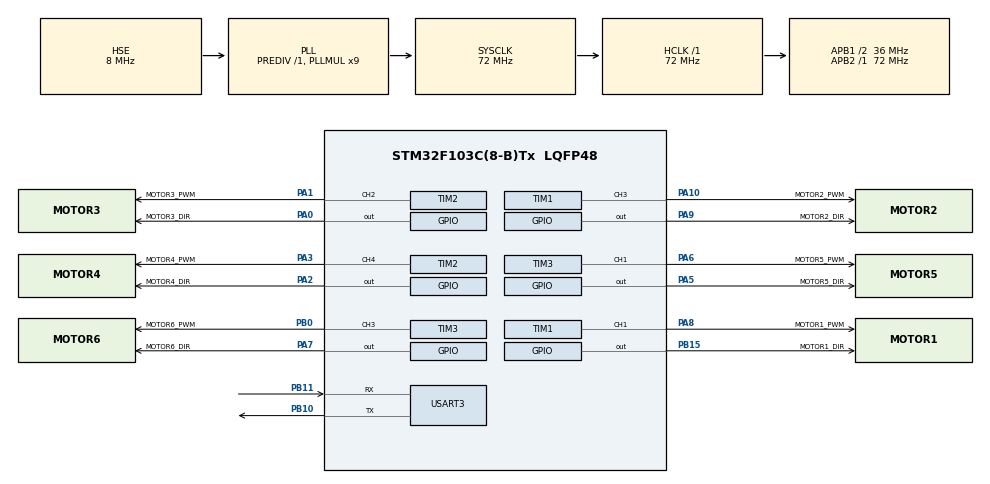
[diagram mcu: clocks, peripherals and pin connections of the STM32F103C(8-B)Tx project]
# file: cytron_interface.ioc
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Mcu.Family=STM32F1
Mcu.Name=STM32F103C(8-B)Tx
Mcu.Package=LQFP48
NVIC.PriorityGroup=NVIC_PRIORITYGROUP_4
NVIC.USART3_IRQn=true\:0\:0\:false\:false\:true\:true\:true\:true
PA0-WKUP.GPIO_Label=MOTOR3_DIR
PA0-WKUP.Signal=GPIO_Output
PA1.GPIO_Label=MOTOR3_PWM
PA1.Signal=S_TIM2_CH2
PA10.GPIO_Label=MOTOR2_PWM
PA10.Signal=S_TIM1_CH3
PA13.Mode=Serial_Wire
PA13.Signal=SYS_JTMS-SWDIO
PA14.Mode=Serial_Wire
PA14.Signal=SYS_JTCK-SWCLK
PA2.GPIO_Label=MOTOR4_DIR
PA2.Signal=GPIO_Output
PA3.GPIO_Label=MOTOR4_PWM
PA3.Signal=S_TIM2_CH4
PA5.GPIO_Label=MOTOR5_DIR
PA5.Signal=GPIO_Output
PA6.GPIO_Label=MOTOR5_PWM
PA6.Signal=S_TIM3_CH1
PA7.GPIO_Label=MOTOR6_DIR
PA7.Signal=GPIO_Output
PA8.GPIO_Label=MOTOR1_PWM
PA8.Signal=S_TIM1_CH1
PA9.GPIO_Label=MOTOR2_DIR
PA9.Signal=GPIO_Output
PB0.GPIO_Label=MOTOR6_PWM
PB0.Signal=S_TIM3_CH3
PB10.Mode=Asynchronous
PB10.Signal=USART3_TX
PB11.Mode=Asynchronous
PB11.Signal=USART3_RX
PB15.GPIO_Label=MOTOR1_DIR
PB15.Signal=GPIO_Output
PD0-OSC_IN.Mode=HSE-External-Oscillator
PD0-OSC_IN.Signal=RCC_OSC_IN
PD1-OSC_OUT.Mode=HSE-External-Oscillator
PD1-OSC_OUT.Signal=RCC_OSC_OUT
ProjectManager.HeapSize=0x200
ProjectManager.StackSize=0x400
ProjectManager.TargetToolchain=STM32CubeIDE
RCC.AHBFreq_Value=72000000
RCC.APB1CLKDivider=RCC_HCLK_DIV2
RCC.APB1Freq_Value=36000000
RCC.APB1TimFreq_Value=72000000
RCC.APB2Freq_Value=72000000
RCC.APB2TimFreq_Value=72000000
RCC.HCLKFreq_Value=72000000
RCC.PLLMUL=RCC_PLL_MUL9
RCC.PLLSourceVirtual=RCC_PLLSOURCE_HSE
RCC.SYSCLKFreq_VALUE=72000000
RCC.SYSCLKSource=RCC_SYSCLKSOURCE_PLLCLK
RCC.USBFreq_Value=72000000
SH.S_TIM1_CH1.0=TIM1_CH1,PWM Generation1 CH1
SH.S_TIM1_CH3.0=TIM1_CH3,PWM Generation3 CH3
SH.S_TIM2_CH2.0=TIM2_CH2,PWM Generation2 CH2
SH.S_TIM2_CH4.0=TIM2_CH4,PWM Generation4 CH4
SH.S_TIM3_CH1.0=TIM3_CH1,PWM Generation1 CH1
SH.S_TIM3_CH3.0=TIM3_CH3,PWM Generation3 CH3
TIM1.Channel-PWM\ Generation1\ CH1=TIM_CHANNEL_1
TIM1.Channel-PWM\ Generation3\ CH3=TIM_CHANNEL_3
TIM1.Period=999
TIM1.Prescaler=71
TIM2.Channel-PWM\ Generation2\ CH2=TIM_CHANNEL_2
TIM2.Channel-PWM\ Generation4\ CH4=TIM_CHANNEL_4
TIM2.Period=999
TIM2.Prescaler=71
TIM3.Channel-PWM\ Generation1\ CH1=TIM_CHANNEL_1
TIM3.Channel-PWM\ Generation3\ CH3=TIM_CHANNEL_3
TIM3.Period=999
TIM3.Prescaler=71
USART3.VirtualMode=VM_ASYNC
board=custom

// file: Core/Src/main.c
/* USER CODE BEGIN Header */
/**
  ******************************************************************************
  * @file           : main.c
  * @brief          : Main program body
  ******************************************************************************
  * @attention
  *
  * Copyright (c) 2025 STMicroelectronics.
  * All rights reserved.
  *
  * This software is licensed under terms that can be found in the LICENSE file
  * in the root directory of this software component.
  * If no LICENSE file comes with this software, it is provided AS-IS.
  *
  ******************************************************************************
  */
/* USER CODE END Header */
#include "main.h"

/* USER CODE BEGIN Includes */
// Array to hold the current, dynamically changing motor speeds

/* USER CODE END Includes */

/* USER CODE BEGIN PD */
#define NUM_MOTORS 6
#define UART_BUFFER_SIZE NUM_MOTORS
// The step size for acceleration/deceleration
#define RAMP_STEP 5
// Time interval for updating speed (in milliseconds)
#define RAMP_INTERVAL_MS 2
// Variable to store the last time the ramp was updated
/* USER CODE END PD */

TIM_HandleTypeDef htim1;
TIM_HandleTypeDef htim2;
TIM_HandleTypeDef htim3;

UART_HandleTypeDef huart3;

/* USER CODE BEGIN PV */
// Array to hold the raw speed values received from UART
uint8_t uart_rx_buffer[UART_BUFFER_SIZE];
// Array to hold the parsed motor speeds
volatile uint8_t motor_speeds[NUM_MOTORS] = {64,64,64,64,64,64};
volatile uint8_t data_ready_flag = 0;
uint32_t last_ramp_time = 0;
volatile int16_t current_motor_speeds[NUM_MOTORS];
/* USER CODE END PV */

void SystemClock_Config(void);
static void MX_GPIO_Init(void);
static void MX_TIM1_Init(void);
static void MX_TIM2_Init(void);
static void MX_TIM3_Init(void);
static void MX_USART3_UART_Init(void);
/* USER CODE BEGIN PFP */
void HAL_UART_RxCpltCallback(UART_HandleTypeDef *huart);
void set_motor_speed(uint8_t motor_index, uint8_t speed_value);
/* USER CODE END PFP */

/* USER CODE BEGIN 0 */
/**
  * @brief  This function is executed when the UART reception is complete.
  * @param  huart: UART handle
  * @retval None
  */
void HAL_UART_RxCpltCallback(UART_HandleTypeDef *huart)
{
    if (huart->Instance == USART3)
    {
        // Copy received data to the motor_speeds array
        for (int i = 0; i < NUM_MOTORS; i++)
        {
            motor_speeds[i] = uart_rx_buffer[i];
        }
        // Set a flag to indicate that new data is ready to be processed
        data_ready_flag = 1;

        // Re-arm the UART interrupt to receive the next packet of data
        HAL_UART_Receive_IT(&huart3, uart_rx_buffer, UART_BUFFER_SIZE);
    }
}

/**
  * @brief  Parses the speed value and sets the motor direction and PWM duty cycle.
  * @param  motor_index: The index of the motor to control (0-5).
  * @param  speed_value: The raw speed value from UART (0-127).
  * @retval None
  */
void set_motor_speed(uint8_t motor_index, uint8_t speed_value)
{
    GPIO_TypeDef* dir_port;
    uint16_t dir_pin;
    TIM_HandleTypeDef* pwm_timer;
    uint32_t pwm_channel;
    uint16_t pwm_value = 0;

    // --- Motor Pin and Timer Configuration ---
    switch (motor_index)
    {
        case 0: // Motor 1
            dir_port = MOTOR1_DIR_GPIO_Port;
            dir_pin = MOTOR1_DIR_Pin;
            pwm_timer = &htim1;
            pwm_channel = TIM_CHANNEL_1;
            break;
        case 1: // Motor 2
            dir_port = MOTOR2_DIR_GPIO_Port;
            dir_pin = MOTOR2_DIR_Pin;
            pwm_timer = &htim1;
            pwm_channel = TIM_CHANNEL_3;
            break;
        case 2: // Motor 3
            dir_port = MOTOR3_DIR_GPIO_Port;
            dir_pin = MOTOR3_DIR_Pin;
            pwm_timer = &htim2;
            pwm_channel = TIM_CHANNEL_2;
            break;
        case 3: // Motor 4
            dir_port = MOTOR4_DIR_GPIO_Port;
            dir_pin = MOTOR4_DIR_Pin;
            pwm_timer = &htim2;
            pwm_channel = TIM_CHANNEL_4;
            break;
        case 4: // Motor 5
            dir_port = MOTOR5_DIR_GPIO_Port;
            dir_pin = MOTOR5_DIR_Pin;
            pwm_timer = &htim3;
            pwm_channel = TIM_CHANNEL_1;
            break;
        case 5: // Motor 6
            dir_port = MOTOR6_DIR_GPIO_Port;
            dir_pin = MOTOR6_DIR_Pin;
            pwm_timer = &htim3;
            pwm_channel = TIM_CHANNEL_3;
            break;
        default:
            return; // Invalid motor index
    }

    // --- Speed and Direction Parsing Logic ---
    if (speed_value == 64) // Motor Stop
    {
        HAL_GPIO_WritePin(dir_port, dir_pin, GPIO_PIN_RESET); // Direction doesn't matter
        pwm_value = 0;
    }
    else if (speed_value > 64) // Forward
    {
    	if(dir_pin == MOTOR3_DIR_Pin || dir_pin == MOTOR6_DIR_Pin){
    		HAL_GPIO_WritePin(dir_port, dir_pin, GPIO_PIN_SET); // Set direction to Forward

    	}else{
            HAL_GPIO_WritePin(dir_port, dir_pin, GPIO_PIN_RESET); // Set direction to Forward
    	}
            // Map 65-127 to a PWM value (e.g., 0-999 for ARR=999)
            // (speed_value - 65) maps 65->0, 127->62
            // We scale this to the timer's ARR value (999)
            pwm_value = (uint16_t)(((speed_value - 65) / 62.0f) * 999);
    }
    else // Backward (speed_value < 64)
    {
    	if(dir_pin == MOTOR3_DIR_Pin || dir_pin == MOTOR6_DIR_Pin){
			HAL_GPIO_WritePin(dir_port, dir_pin, GPIO_PIN_RESET); // Set direction to Forward

		}else{
			HAL_GPIO_WritePin(dir_port, dir_pin, GPIO_PIN_SET); // Set direction to Forward
		}
        // Map 0-63 to a PWM value. 63 is slowest, 0 is fastest.
        // (63 - speed_value) maps 63->0, 0->63
        pwm_value = (uint16_t)(((63 - speed_value) / 63.0f) * 999);
    }

    // --- Set the PWM Duty Cycle ---
    __HAL_TIM_SET_COMPARE(pwm_timer, pwm_channel, pwm_value);
}

/* USER CODE BEGIN 0 */
/**
  * @brief  Sets the motor direction and PWM duty cycle based on a new PWM value.
  * @param  motor_index: The index of the motor to control (0-5).
  * @param  pwm_value: The calculated PWM value to set.
  * @param  speed_value: The raw speed value from UART (for direction logic).
  * @retval None
  */
void set_motor_speed_trapezoid(uint8_t motor_index, int16_t pwm_value, uint8_t speed_value)
{
    GPIO_TypeDef* dir_port;
    uint16_t dir_pin;
    TIM_HandleTypeDef* pwm_timer;
    uint32_t pwm_channel;

    // --- Motor Pin and Timer Configuration ---
    switch (motor_index)
    {
        case 0: // Motor 1
            dir_port = MOTOR1_DIR_GPIO_Port;
            dir_pin = MOTOR1_DIR_Pin;
            pwm_timer = &htim1;
            pwm_channel = TIM_CHANNEL_1;
            break;
        case 1: // Motor 2
            dir_port = MOTOR2_DIR_GPIO_Port;
            dir_pin = MOTOR2_DIR_Pin;
            pwm_timer = &htim1;
            pwm_channel = TIM_CHANNEL_3;
            break;
        case 2: // Motor 3
            dir_port = MOTOR3_DIR_GPIO_Port;
            dir_pin = MOTOR3_DIR_Pin;
            pwm_timer = &htim2;
            pwm_channel = TIM_CHANNEL_2;
            break;
        case 3: // Motor 4
            dir_port = MOTOR4_DIR_GPIO_Port;
            dir_pin = MOTOR4_DIR_Pin;
            pwm_timer = &htim2;
            pwm_channel = TIM_CHANNEL_4;
            break;
        case 4: // Motor 5
            dir_port = MOTOR5_DIR_GPIO_Port;
            dir_pin = MOTOR5_DIR_Pin;
            pwm_timer = &htim3;
            pwm_channel = TIM_CHANNEL_1;
            break;
        case 5: // Motor 6
            dir_port = MOTOR6_DIR_GPIO_Port;
            dir_pin = MOTOR6_DIR_Pin;
            pwm_timer = &htim3;
            pwm_channel = TIM_CHANNEL_3;
            break;
        default:
            return; // Invalid motor index
    }

    // --- Direction Parsing Logic ---
    // The direction only needs to be set once the motor starts moving,
    // or if the target direction changes.
    if (speed_value > 64) // Forward
    {
        if(dir_pin == MOTOR3_DIR_Pin || dir_pin == MOTOR6_DIR_Pin){
            HAL_GPIO_WritePin(dir_port, dir_pin, GPIO_PIN_SET);
        } else {
            HAL_GPIO_WritePin(dir_port, dir_pin, GPIO_PIN_RESET);
        }
    }
    else if (speed_value < 64) // Backward
    {
        if(dir_pin == MOTOR3_DIR_Pin || dir_pin == MOTOR6_DIR_Pin){
            HAL_GPIO_WritePin(dir_port, dir_pin, GPIO_PIN_RESET);
        } else {
            HAL_GPIO_WritePin(dir_port, dir_pin, GPIO_PIN_SET);
        }
    }
    // If speed_value == 64, direction is irrelevant.

    // --- Set the PWM Duty Cycle ---
    __HAL_TIM_SET_COMPARE(pwm_timer, pwm_channel, pwm_value);
}
/* USER CODE END 0 */

int main(void)
{

  /* MCU Configuration--------------------------------------------------------*/

  /* Reset of all peripherals, Initializes the Flash interface and the Systick. */
  HAL_Init();

  /* Configure the system clock */
  SystemClock_Config();

  /* Initialize all configured peripherals */
  MX_GPIO_Init();
  MX_TIM1_Init();
  MX_TIM2_Init();
  MX_TIM3_Init();
  MX_USART3_UART_Init();
  /* USER CODE BEGIN 2 */
  	HAL_TIM_PWM_Start(&htim1, TIM_CHANNEL_1);
    HAL_TIM_PWM_Start(&htim1, TIM_CHANNEL_3);
    HAL_TIM_PWM_Start(&htim2, TIM_CHANNEL_2);
    HAL_TIM_PWM_Start(&htim2, TIM_CHANNEL_4);
    HAL_TIM_PWM_Start(&htim3, TIM_CHANNEL_1);
    HAL_TIM_PWM_Start(&htim3, TIM_CHANNEL_3);

    // Initialize all motors to stop
      for (int i = 0; i < NUM_MOTORS; i++)
      {
          set_motor_speed(i, 64);
      }

      // Start listening for UART data
      HAL_UART_Receive_IT(&huart3, uart_rx_buffer, UART_BUFFER_SIZE);
  /* USER CODE END 2 */

  /* Infinite loop */
  while (1)
  {

  }
}

void SystemClock_Config(void)
{
  RCC_OscInitTypeDef RCC_OscInitStruct = {0};
  RCC_ClkInitTypeDef RCC_ClkInitStruct = {0};

  /** Initializes the RCC Oscillators according to the specified parameters
  * in the RCC_OscInitTypeDef structure.
  */
  RCC_OscInitStruct.OscillatorType = RCC_OSCILLATORTYPE_HSE;
  RCC_OscInitStruct.HSEState = RCC_HSE_ON;
  RCC_OscInitStruct.HSEPredivValue = RCC_HSE_PREDIV_DIV1;
  RCC_OscInitStruct.HSIState = RCC_HSI_ON;
  RCC_OscInitStruct.PLL.PLLState = RCC_PLL_ON;
  RCC_OscInitStruct.PLL.PLLSource = RCC_PLLSOURCE_HSE;
  RCC_OscInitStruct.PLL.PLLMUL = RCC_PLL_MUL9;
  if (HAL_RCC_OscConfig(&RCC_OscInitStruct) != HAL_OK)
  {
    Error_Handler();
  }

  /** Initializes the CPU, AHB and APB buses clocks
  */
  RCC_ClkInitStruct.ClockType = RCC_CLOCKTYPE_HCLK|RCC_CLOCKTYPE_SYSCLK
                              |RCC_CLOCKTYPE_PCLK1|RCC_CLOCKTYPE_PCLK2;
  RCC_ClkInitStruct.SYSCLKSource = RCC_SYSCLKSOURCE_PLLCLK;
  RCC_ClkInitStruct.AHBCLKDivider = RCC_SYSCLK_DIV1;
  RCC_ClkInitStruct.APB1CLKDivider = RCC_HCLK_DIV2;
  RCC_ClkInitStruct.APB2CLKDivider = RCC_HCLK_DIV1;

  if (HAL_RCC_ClockConfig(&RCC_ClkInitStruct, FLASH_LATENCY_2) != HAL_OK)
  {
    Error_Handler();
  }
}

static void MX_TIM1_Init(void)
{

  TIM_MasterConfigTypeDef sMasterConfig = {0};
  TIM_OC_InitTypeDef sConfigOC = {0};
  TIM_BreakDeadTimeConfigTypeDef sBreakDeadTimeConfig = {0};

  htim1.Instance = TIM1;
  htim1.Init.Prescaler = 71;
  htim1.Init.CounterMode = TIM_COUNTERMODE_UP;
  htim1.Init.Period = 999;
  htim1.Init.ClockDivision = TIM_CLOCKDIVISION_DIV1;
  htim1.Init.RepetitionCounter = 0;
  htim1.Init.AutoReloadPreload = TIM_AUTORELOAD_PRELOAD_DISABLE;
  if (HAL_TIM_PWM_Init(&htim1) != HAL_OK)
  {
    Error_Handler();
  }
  sMasterConfig.MasterOutputTrigger = TIM_TRGO_RESET;
  sMasterConfig.MasterSlaveMode = TIM_MASTERSLAVEMODE_DISABLE;
  if (HAL_TIMEx_MasterConfigSynchronization(&htim1, &sMasterConfig) != HAL_OK)
  {
    Error_Handler();
  }
  sConfigOC.OCMode = TIM_OCMODE_PWM1;
  sConfigOC.Pulse = 0;
  sConfigOC.OCPolarity = TIM_OCPOLARITY_HIGH;
  sConfigOC.OCNPolarity = TIM_OCNPOLARITY_HIGH;
  sConfigOC.OCFastMode = TIM_OCFAST_DISABLE;
  sConfigOC.OCIdleState = TIM_OCIDLESTATE_RESET;
  sConfigOC.OCNIdleState = TIM_OCNIDLESTATE_RESET;
  if (HAL_TIM_PWM_ConfigChannel(&htim1, &sConfigOC, TIM_CHANNEL_1) != HAL_OK)
  {
    Error_Handler();
  }
  if (HAL_TIM_PWM_ConfigChannel(&htim1, &sConfigOC, TIM_CHANNEL_3) != HAL_OK)
  {
    Error_Handler();
  }
  sBreakDeadTimeConfig.OffStateRunMode = TIM_OSSR_DISABLE;
  sBreakDeadTimeConfig.OffStateIDLEMode = TIM_OSSI_DISABLE;
  sBreakDeadTimeConfig.LockLevel = TIM_LOCKLEVEL_OFF;
  sBreakDeadTimeConfig.DeadTime = 0;
  sBreakDeadTimeConfig.BreakState = TIM_BREAK_DISABLE;
  sBreakDeadTimeConfig.BreakPolarity = TIM_BREAKPOLARITY_HIGH;
  sBreakDeadTimeConfig.AutomaticOutput = TIM_AUTOMATICOUTPUT_DISABLE;
  if (HAL_TIMEx_ConfigBreakDeadTime(&htim1, &sBreakDeadTimeConfig) != HAL_OK)
  {
    Error_Handler();
  }
  HAL_TIM_MspPostInit(&htim1);

}

static void MX_TIM2_Init(void)
{

  TIM_MasterConfigTypeDef sMasterConfig = {0};
  TIM_OC_InitTypeDef sConfigOC = {0};

  htim2.Instance = TIM2;
  htim2.Init.Prescaler = 71;
  htim2.Init.CounterMode = TIM_COUNTERMODE_UP;
  htim2.Init.Period = 999;
  htim2.Init.ClockDivision = TIM_CLOCKDIVISION_DIV1;
  htim2.Init.AutoReloadPreload = TIM_AUTORELOAD_PRELOAD_DISABLE;
  if (HAL_TIM_PWM_Init(&htim2) != HAL_OK)
  {
    Error_Handler();
  }
  sMasterConfig.MasterOutputTrigger = TIM_TRGO_RESET;
  sMasterConfig.MasterSlaveMode = TIM_MASTERSLAVEMODE_DISABLE;
  if (HAL_TIMEx_MasterConfigSynchronization(&htim2, &sMasterConfig) != HAL_OK)
  {
    Error_Handler();
  }
  sConfigOC.OCMode = TIM_OCMODE_PWM1;
  sConfigOC.Pulse = 0;
  sConfigOC.OCPolarity = TIM_OCPOLARITY_HIGH;
  sConfigOC.OCFastMode = TIM_OCFAST_DISABLE;
  if (HAL_TIM_PWM_ConfigChannel(&htim2, &sConfigOC, TIM_CHANNEL_2) != HAL_OK)
  {
    Error_Handler();
  }
  if (HAL_TIM_PWM_ConfigChannel(&htim2, &sConfigOC, TIM_CHANNEL_4) != HAL_OK)
  {
    Error_Handler();
  }
  HAL_TIM_MspPostInit(&htim2);

}

static void MX_TIM3_Init(void)
{

  TIM_MasterConfigTypeDef sMasterConfig = {0};
  TIM_OC_InitTypeDef sConfigOC = {0};

  htim3.Instance = TIM3;
  htim3.Init.Prescaler = 71;
  htim3.Init.CounterMode = TIM_COUNTERMODE_UP;
  htim3.Init.Period = 999;
  htim3.Init.ClockDivision = TIM_CLOCKDIVISION_DIV1;
  htim3.Init.AutoReloadPreload = TIM_AUTORELOAD_PRELOAD_DISABLE;
  if (HAL_TIM_PWM_Init(&htim3) != HAL_OK)
  {
    Error_Handler();
  }
  sMasterConfig.MasterOutputTrigger = TIM_TRGO_RESET;
  sMasterConfig.MasterSlaveMode = TIM_MASTERSLAVEMODE_DISABLE;
  if (HAL_TIMEx_MasterConfigSynchronization(&htim3, &sMasterConfig) != HAL_OK)
  {
    Error_Handler();
  }
  sConfigOC.OCMode = TIM_OCMODE_PWM1;
  sConfigOC.Pulse = 0;
  sConfigOC.OCPolarity = TIM_OCPOLARITY_HIGH;
  sConfigOC.OCFastMode = TIM_OCFAST_DISABLE;
  if (HAL_TIM_PWM_ConfigChannel(&htim3, &sConfigOC, TIM_CHANNEL_1) != HAL_OK)
  {
    Error_Handler();
  }
  if (HAL_TIM_PWM_ConfigChannel(&htim3, &sConfigOC, TIM_CHANNEL_3) != HAL_OK)
  {
    Error_Handler();
  }
  HAL_TIM_MspPostInit(&htim3);

}

static void MX_USART3_UART_Init(void)
{

  huart3.Instance = USART3;
  huart3.Init.BaudRate = 115200;
  huart3.Init.WordLength = UART_WORDLENGTH_8B;
  huart3.Init.StopBits = UART_STOPBITS_1;
  huart3.Init.Parity = UART_PARITY_NONE;
  huart3.Init.Mode = UART_MODE_TX_RX;
  huart3.Init.HwFlowCtl = UART_HWCONTROL_NONE;
  huart3.Init.OverSampling = UART_OVERSAMPLING_16;
  if (HAL_UART_Init(&huart3) != HAL_OK)
  {
    Error_Handler();
  }

}

static void MX_GPIO_Init(void)
{
  GPIO_InitTypeDef GPIO_InitStruct = {0};

  /* GPIO Ports Clock Enable */
  __HAL_RCC_GPIOD_CLK_ENABLE();
  __HAL_RCC_GPIOA_CLK_ENABLE();
  __HAL_RCC_GPIOB_CLK_ENABLE();

  /*Configure GPIO pin Output Level */
  HAL_GPIO_WritePin(GPIOA, MOTOR3_DIR_Pin|MOTOR4_DIR_Pin|MOTOR5_DIR_Pin|MOTOR6_DIR_Pin
                          |MOTOR2_DIR_Pin, GPIO_PIN_RESET);

  /*Configure GPIO pin Output Level */
  HAL_GPIO_WritePin(MOTOR1_DIR_GPIO_Port, MOTOR1_DIR_Pin, GPIO_PIN_RESET);

  /*Configure GPIO pins : MOTOR3_DIR_Pin MOTOR4_DIR_Pin MOTOR5_DIR_Pin MOTOR6_DIR_Pin
                           MOTOR2_DIR_Pin */
  GPIO_InitStruct.Pin = MOTOR3_DIR_Pin|MOTOR4_DIR_Pin|MOTOR5_DIR_Pin|MOTOR6_DIR_Pin
                          |MOTOR2_DIR_Pin;
  GPIO_InitStruct.Mode = GPIO_MODE_OUTPUT_PP;
  GPIO_InitStruct.Pull = GPIO_NOPULL;
  GPIO_InitStruct.Speed = GPIO_SPEED_FREQ_LOW;
  HAL_GPIO_Init(GPIOA, &GPIO_InitStruct);

  /*Configure GPIO pin : MOTOR1_DIR_Pin */
  GPIO_InitStruct.Pin = MOTOR1_DIR_Pin;
  GPIO_InitStruct.Mode = GPIO_MODE_OUTPUT_PP;
  GPIO_InitStruct.Pull = GPIO_NOPULL;
  GPIO_InitStruct.Speed = GPIO_SPEED_FREQ_LOW;
  HAL_GPIO_Init(MOTOR1_DIR_GPIO_Port, &GPIO_InitStruct);

}

void Error_Handler(void)
{
  __disable_irq();
  while (1)
  {
  }
}
